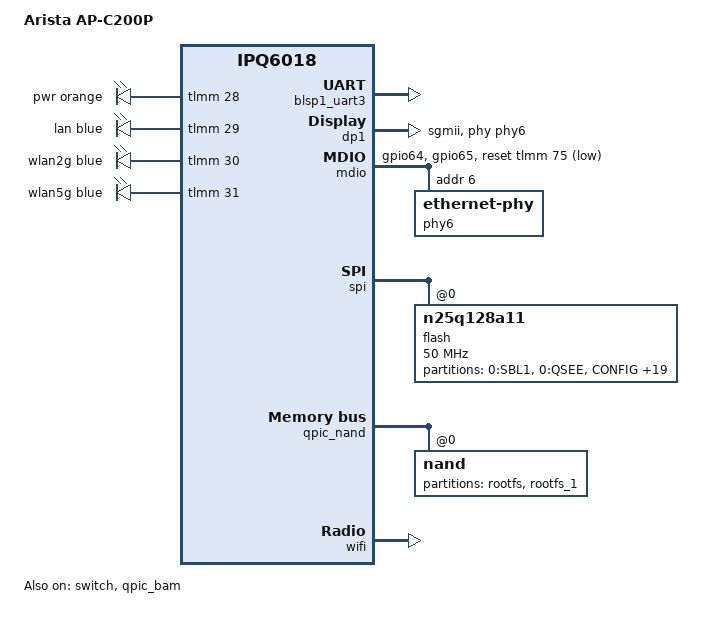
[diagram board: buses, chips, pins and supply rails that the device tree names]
// SPDX-License-Identifier: (GPL-2.0+)

/dts-v1/;

#include "ipq6018.dtsi"
#include "ipq6018-cp-cpu.dtsi"
#include "ipq6018-ess.dtsi"
#include <dt-bindings/gpio/gpio.h>
#include <dt-bindings/input/input.h>
#include <dt-bindings/leds/common.h>

/ {
	model = "Arista AP-C200P";
	compatible = "arista,ap-cp01-c3", "qcom,ipq6018";

	aliases {
		serial0 = &blsp1_uart3;
		ethernet0 = &dp1;
		label-mac-device = &dp1;
		led-boot = &pwr;
		led-failsafe = &pwr;
		led-running = &pwr;
		led-upgrade = &pwr;
	};

	chosen {
		stdout-path = "serial0:115200n8";
		bootargs-append = " root=/dev/ubiblock0_1";
	};


	leds {
		compatible = "gpio-leds";

		pwr: pwr {
			color = <LED_COLOR_ID_ORANGE>;
			function = LED_FUNCTION_POWER;
			gpios = <&tlmm 28 GPIO_ACTIVE_HIGH>;
		};

		lan  {
			color = <LED_COLOR_ID_BLUE>;
			function = LED_FUNCTION_LAN;
			gpios = <&tlmm 29 GPIO_ACTIVE_HIGH>;
		};

		wlan2g  {
			color = <LED_COLOR_ID_BLUE>;
			function = LED_FUNCTION_WLAN;
			function-enumerator = <0>;
			gpios = <&tlmm 30 GPIO_ACTIVE_HIGH>;
			linux,default-trigger = "phy0radio";
		};

		wlan5g  {
			color = <LED_COLOR_ID_BLUE>;
			function = LED_FUNCTION_WLAN;
			function-enumerator = <1>;
			gpios = <&tlmm 31 GPIO_ACTIVE_HIGH>;
			linux,default-trigger = "phy1radio";
		};
	};
};

&blsp1_uart3 {
	pinctrl-0 = <&serial_3_pins>;
	pinctrl-names = "default";
	status = "okay";
};

&tlmm {
	mdio_pins: mdio-pins {
		mdc {
			pins = "gpio64";
			function = "mdc";
			drive-strength = <8>;
			bias-pull-up;
		};

		mdio {
			pins = "gpio65";
			function = "mdio";
			drive-strength = <8>;
			bias-pull-up;
		};
	};
};

&edma {
	status = "okay";
};

&dp1 {
		status = "okay";

		phy-handle = <&phy6>;
		phy-mode = "sgmii";
		label = "lan";
};

&mdio {
	status = "okay";
	pinctrl-0 = <&mdio_pins>;
	pinctrl-names = "default";
	reset-gpios = <&tlmm 75 GPIO_ACTIVE_LOW>;
	
	phy6: ethernet-phy@6 {
		reg = <0x6>;
	};
};

&switch {
	status = "okay";

	switch_lan_bmp = <ESS_PORT1>;
	switch_mac_mode = <MAC_MODE_SGMII_CHANNEL0>;

	qcom,port_phyinfo {
		port@1 {
			port_id = <1>;
			phy_address = <6>;
		};
	};
};


&spi {
		cs-select = <0x00>;
		dma-names = "tx", "rx";
		pinctrl-0 = <0x0f>;
		pinctrl-names = "default";
		spi-max-frequency = <0x2faf080>;
		reg = <0x78b5000 0x600>;
		status = "ok";
		
		flash@0 {
			density = <0x1000000>;
			sector-size = <0x10000>;
			spi-max-frequency = <0x2faf080>;
			compatible = "n25q128a11";
			linux,modalias = "m25p80", "n25q128a11";
			use-default-sizes;
			
			partitions {
			
				compatible = "fixed-partitions";
				
				partition@0 {
					label = "0:SBL1";
					reg = <0x00 0xc0000>;
				};

				partition@110000 {
					label = "0:QSEE";
					reg = <0x110000 0x1a0000>;
				};

				partition@1760000 {
					label = "CONFIG";
					reg = <0x1760000 0x400000>;
				};

				partition@1b60000 {
					label = "LOGGING";
					reg = <0x1b60000 0x100000>;
				};

				partition@1c60000 {
					label = "DEVCERT";
					reg = <0x1c60000 0x20000>;
				};

				partition@1c80000 {
					label = "RESERVED";
					reg = <0x1c80000 0x380000>;
				};

				partition@2b0000 {
					label = "0:QSEE_1";
					reg = <0x2b0000 0x1a0000>;
				};

				partition@450000 {
					label = "0:DEVCFG";
					reg = <0x450000 0x10000>;
				};

				partition@460000 {
					label = "0:DEVCFG_1";
					reg = <0x460000 0x10000>;
				};

				partition@470000 {
					label = "0:RPM";
					reg = <0x470000 0x40000>;
				};

				partition@4b0000 {
					label = "0:RPM_1";
					reg = <0x4b0000 0x40000>;
				};

				partition@4f0000 {
					label = "0:uboot_env";
					reg = <0x4f0000 0x10000>;
				};

				partition@500000 {
					label = "0:CDT_1";
					reg = <0x500000 0x10000>;
				};

				partition@510000 {
					label = "0:APPSBLENV";
					reg = <0x510000 0x10000>;
				};

				partition@520000 {
					label = "0:APPSBL";
					reg = <0x520000 0x100000>;
				};

				partition@620000 {
					label = "0:APPSBL_1";
					reg = <0x620000 0x100000>;
				};

				partition@720000 {
					label = "0:ART";
					reg = <0x720000 0x40000>;
				};

				partition@760000 {
					label = "firmware";
					reg = <0x760000 0x800000>;
				};

				partition@c0000 {
					label = "0:MIBIB";
					reg = <0xc0000 0x10000>;
				};

				partition@d0000 {
					label = "0:BOOTCONFIG";
					reg = <0xd0000 0x20000>;
				};

				partition@f0000 {
					label = "0:BOOTCONFIG1";
					reg = <0xf0000 0x20000>;
				};

				partition@f60000 {
					label = "HL_backup1";
					reg = <0xf60000 0x800000>;
				};
			};
		};
	};
};

&qpic_bam {
	status = "okay";
};

&qpic_nand {
	status = "okay";

	nand@0 {
		reg = <0>;

		nand-ecc-strength = <4>;
		nand-ecc-step-size = <512>;
		nand-bus-width = <8>;

		partitions {
			compatible = "qcom,smem-part";
			
			partition@0 {
				label = "rootfs";
				reg = <0x00 0x10000000>;
			};
			
			partition@10000000 {
				label = "rootfs_1";
				reg = <0x10000000 0x10000000>;
			};
		};
	};
};

&wifi {
	status = "okay";

	qcom,ath11k-calibration-variant = "Arista-C200P";
};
